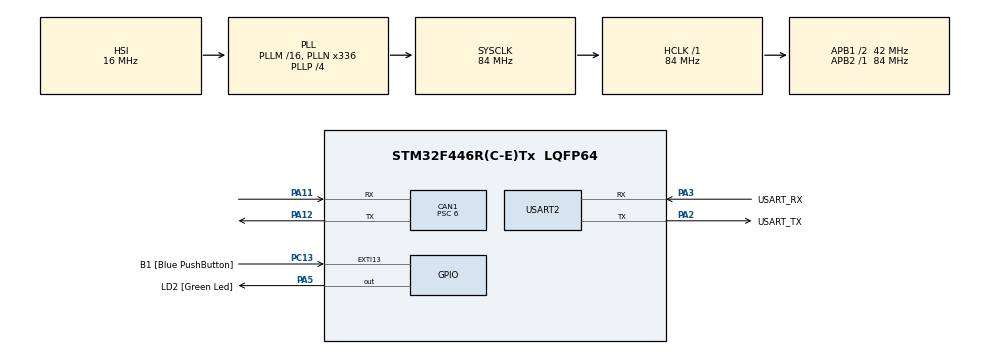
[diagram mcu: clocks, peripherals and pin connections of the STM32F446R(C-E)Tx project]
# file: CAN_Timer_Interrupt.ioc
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CAN1.ABOM=ENABLE
CAN1.BS1=CAN_BS1_11TQ
CAN1.BS2=CAN_BS2_2TQ
CAN1.CalculateBaudRate=500000
CAN1.CalculateTimeBit=2000
CAN1.CalculateTimeQuantum=142.85714285714286
CAN1.NART=ENABLE
CAN1.Prescaler=6
Mcu.Family=STM32F4
Mcu.Name=STM32F446R(C-E)Tx
Mcu.Package=LQFP64
NVIC.CAN1_TX_IRQn=true\:0\:0\:false\:false\:true\:true\:true\:true
NVIC.EXTI15_10_IRQn=true\:0\:0\:false\:false\:true\:true\:true\:true
NVIC.PriorityGroup=NVIC_PRIORITYGROUP_0
NVIC.TIM6_DAC_IRQn=true\:0\:0\:false\:false\:true\:true\:true\:true
PA11.Mode=CAN_Activate
PA11.Signal=CAN1_RX
PA12.Mode=CAN_Activate
PA12.Signal=CAN1_TX
PA13.GPIO_Label=TMS
PA13.Signal=SYS_JTMS-SWDIO
PA14.GPIO_Label=TCK
PA14.Signal=SYS_JTCK-SWCLK
PA2.GPIO_Label=USART_TX
PA2.Mode=Asynchronous
PA2.Signal=USART2_TX
PA3.GPIO_Label=USART_RX
PA3.Mode=Asynchronous
PA3.Signal=USART2_RX
PA5.GPIO_Label=LD2 [Green Led]
PA5.Signal=GPIO_Output
PB3.GPIO_Label=SWO
PB3.Signal=SYS_JTDO-SWO
PC13.GPIO_Label=B1 [Blue PushButton]
PC13.GPIO_ModeDefaultEXTI=GPIO_MODE_IT_FALLING
PC13.Signal=GPXTI13
PC14-OSC32_IN.Signal=RCC_OSC32_IN
PC15-OSC32_OUT.Signal=RCC_OSC32_OUT
PH0-OSC_IN.Mode=HSE-External-Oscillator
PH0-OSC_IN.Signal=RCC_OSC_IN
PH1-OSC_OUT.Mode=HSE-External-Oscillator
PH1-OSC_OUT.Signal=RCC_OSC_OUT
ProjectManager.HeapSize=0x200
ProjectManager.StackSize=0x400
ProjectManager.TargetToolchain=STM32CubeIDE
RCC.AHBFreq_Value=84000000
RCC.APB1CLKDivider=RCC_HCLK_DIV2
RCC.APB1Freq_Value=42000000
RCC.APB1TimFreq_Value=84000000
RCC.APB2Freq_Value=84000000
RCC.APB2TimCLKDivider=1
RCC.APB2TimFreq_Value=84000000
RCC.CortexFreq_Value=84000000
RCC.FLatency-AdvancedSettings=FLASH_LATENCY_2
RCC.HCLKFreq_Value=84000000
RCC.HSE_VALUE=8000000
RCC.HSI_VALUE=16000000
RCC.LSE_VALUE=32768
RCC.PLLN=336
RCC.PLLP=RCC_PLLP_DIV4
RCC.SYSCLKFreq_VALUE=84000000
RCC.SYSCLKSource=RCC_SYSCLKSOURCE_PLLCLK
RCC.USBFreq_Value=168000000
RCC.VCOOutputFreq_Value=336000000
TIM6.Period=9999
TIM6.Prescaler=8400
USART2.VirtualMode=VM_ASYNC
VP_TIM6_VS_ClockSourceINT.Mode=Enable_Timer
board=NUCLEO-F446RE

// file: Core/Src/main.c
/* USER CODE BEGIN Header */
/**
  ******************************************************************************
  * @file           : main.c
  * @brief          : Main program body
  ******************************************************************************
  * @attention
  *
  * Copyright (c) 2024 STMicroelectronics.
  * All rights reserved.
  *
  * This software is licensed under terms that can be found in the LICENSE file
  * in the root directory of this software component.
  * If no LICENSE file comes with this software, it is provided AS-IS.
  *
  ******************************************************************************
  */
/* USER CODE END Header */
#include "main.h"

CAN_HandleTypeDef hcan1;

TIM_HandleTypeDef htim6;

UART_HandleTypeDef huart2;

void SystemClock_Config(void);
static void MX_GPIO_Init(void);
static void MX_TIM6_Init(void);
static void MX_CAN1_Init(void);
static void MX_USART2_UART_Init(void);
/* USER CODE BEGIN PFP */
void HAL_CAN_TxMailbox0CompleteCallback(CAN_HandleTypeDef *hcan);
void HAL_CAN_TxMailbox1CompleteCallback(CAN_HandleTypeDef *hcan);
void HAL_CAN_TxMailbox2CompleteCallback(CAN_HandleTypeDef *hcan);
void HAL_CAN_RxFifo0MsgPendingCallback(CAN_HandleTypeDef *hcan);
void HAL_CAN_ErrorCallback(CAN_HandleTypeDef *hcan);

/* USER CODE END PFP */

int main(void)
{

  /* MCU Configuration--------------------------------------------------------*/

  /* Reset of all peripherals, Initializes the Flash interface and the Systick. */
  HAL_Init();

  /* Configure the system clock */
  SystemClock_Config();

  /* Initialize all configured peripherals */
  MX_GPIO_Init();
  MX_TIM6_Init();
  MX_CAN1_Init();
  MX_USART2_UART_Init();
  /* USER CODE BEGIN 2 */

  //HAL_TIM_Base_Start_IT(&htim6);

  if (HAL_CAN_ActivateNotification(&hcan1, CAN_IT_TX_MAILBOX_EMPTY) != HAL_OK) {
	  Error_Handler();
  }

  if (HAL_CAN_Start(&hcan1) != HAL_OK){
	  Error_Handler();
  }
  /* USER CODE END 2 */

  /* Infinite loop */
  while (1)
  {

  }
}

void SystemClock_Config(void)
{
  RCC_OscInitTypeDef RCC_OscInitStruct = {0};
  RCC_ClkInitTypeDef RCC_ClkInitStruct = {0};

  /** Configure the main internal regulator output voltage
  */
  __HAL_RCC_PWR_CLK_ENABLE();
  __HAL_PWR_VOLTAGESCALING_CONFIG(PWR_REGULATOR_VOLTAGE_SCALE3);

  /** Initializes the RCC Oscillators according to the specified parameters
  * in the RCC_OscInitTypeDef structure.
  */
  RCC_OscInitStruct.OscillatorType = RCC_OSCILLATORTYPE_HSI;
  RCC_OscInitStruct.HSIState = RCC_HSI_ON;
  RCC_OscInitStruct.HSICalibrationValue = RCC_HSICALIBRATION_DEFAULT;
  RCC_OscInitStruct.PLL.PLLState = RCC_PLL_ON;
  RCC_OscInitStruct.PLL.PLLSource = RCC_PLLSOURCE_HSI;
  RCC_OscInitStruct.PLL.PLLM = 16;
  RCC_OscInitStruct.PLL.PLLN = 336;
  RCC_OscInitStruct.PLL.PLLP = RCC_PLLP_DIV4;
  RCC_OscInitStruct.PLL.PLLQ = 2;
  RCC_OscInitStruct.PLL.PLLR = 2;
  if (HAL_RCC_OscConfig(&RCC_OscInitStruct) != HAL_OK)
  {
    Error_Handler();
  }

  /** Initializes the CPU, AHB and APB buses clocks
  */
  RCC_ClkInitStruct.ClockType = RCC_CLOCKTYPE_HCLK|RCC_CLOCKTYPE_SYSCLK
                              |RCC_CLOCKTYPE_PCLK1|RCC_CLOCKTYPE_PCLK2;
  RCC_ClkInitStruct.SYSCLKSource = RCC_SYSCLKSOURCE_PLLCLK;
  RCC_ClkInitStruct.AHBCLKDivider = RCC_SYSCLK_DIV1;
  RCC_ClkInitStruct.APB1CLKDivider = RCC_HCLK_DIV2;
  RCC_ClkInitStruct.APB2CLKDivider = RCC_HCLK_DIV1;

  if (HAL_RCC_ClockConfig(&RCC_ClkInitStruct, FLASH_LATENCY_2) != HAL_OK)
  {
    Error_Handler();
  }
}

static void MX_CAN1_Init(void)
{

  hcan1.Instance = CAN1;
  hcan1.Init.Prescaler = 6;
  hcan1.Init.Mode = CAN_MODE_NORMAL;
  hcan1.Init.SyncJumpWidth = CAN_SJW_1TQ;
  hcan1.Init.TimeSeg1 = CAN_BS1_11TQ;
  hcan1.Init.TimeSeg2 = CAN_BS2_2TQ;
  hcan1.Init.TimeTriggeredMode = DISABLE;
  hcan1.Init.AutoBusOff = ENABLE;
  hcan1.Init.AutoWakeUp = DISABLE;
  hcan1.Init.AutoRetransmission = ENABLE;
  hcan1.Init.ReceiveFifoLocked = DISABLE;
  hcan1.Init.TransmitFifoPriority = DISABLE;
  if (HAL_CAN_Init(&hcan1) != HAL_OK)
  {
    Error_Handler();
  }
  /* USER CODE BEGIN CAN1_Init 2 */
  CAN_FilterTypeDef CAN_Filter;

  CAN_Filter.FilterActivation = CAN_FILTER_ENABLE;
  CAN_Filter.FilterBank = 0;
  CAN_Filter.FilterFIFOAssignment = CAN_FILTER_FIFO0;
  CAN_Filter.FilterIdHigh = 0x00000000;
  CAN_Filter.FilterIdLow = 0x00000000;
  CAN_Filter.FilterMaskIdHigh = 0x00000000;
  CAN_Filter.FilterMaskIdLow = 0x00000000;
  CAN_Filter.FilterMode = CAN_FILTERMODE_IDMASK;
  CAN_Filter.FilterScale = CAN_FILTERSCALE_32BIT;

  if (HAL_CAN_ConfigFilter(&hcan1, &CAN_Filter) != HAL_OK) {
	  Error_Handler();
  }

  /* USER CODE END CAN1_Init 2 */

}

static void MX_TIM6_Init(void)
{

  TIM_MasterConfigTypeDef sMasterConfig = {0};

  htim6.Instance = TIM6;
  htim6.Init.Prescaler = 8400;
  htim6.Init.CounterMode = TIM_COUNTERMODE_UP;
  htim6.Init.Period = 9999;
  htim6.Init.AutoReloadPreload = TIM_AUTORELOAD_PRELOAD_DISABLE;
  if (HAL_TIM_Base_Init(&htim6) != HAL_OK)
  {
    Error_Handler();
  }
  sMasterConfig.MasterOutputTrigger = TIM_TRGO_RESET;
  sMasterConfig.MasterSlaveMode = TIM_MASTERSLAVEMODE_DISABLE;
  if (HAL_TIMEx_MasterConfigSynchronization(&htim6, &sMasterConfig) != HAL_OK)
  {
    Error_Handler();
  }

}

static void MX_USART2_UART_Init(void)
{

  huart2.Instance = USART2;
  huart2.Init.BaudRate = 115200;
  huart2.Init.WordLength = UART_WORDLENGTH_8B;
  huart2.Init.StopBits = UART_STOPBITS_1;
  huart2.Init.Parity = UART_PARITY_NONE;
  huart2.Init.Mode = UART_MODE_TX_RX;
  huart2.Init.HwFlowCtl = UART_HWCONTROL_NONE;
  huart2.Init.OverSampling = UART_OVERSAMPLING_16;
  if (HAL_UART_Init(&huart2) != HAL_OK)
  {
    Error_Handler();
  }

}

static void MX_GPIO_Init(void)
{
  GPIO_InitTypeDef GPIO_InitStruct = {0};

  /* GPIO Ports Clock Enable */
  __HAL_RCC_GPIOC_CLK_ENABLE();
  __HAL_RCC_GPIOH_CLK_ENABLE();
  __HAL_RCC_GPIOA_CLK_ENABLE();
  __HAL_RCC_GPIOB_CLK_ENABLE();

  /*Configure GPIO pin Output Level */
  HAL_GPIO_WritePin(LD2_GPIO_Port, LD2_Pin, GPIO_PIN_RESET);

  /*Configure GPIO pin : B1_Pin */
  GPIO_InitStruct.Pin = B1_Pin;
  GPIO_InitStruct.Mode = GPIO_MODE_IT_FALLING;
  GPIO_InitStruct.Pull = GPIO_NOPULL;
  HAL_GPIO_Init(B1_GPIO_Port, &GPIO_InitStruct);

  /*Configure GPIO pin : LD2_Pin */
  GPIO_InitStruct.Pin = LD2_Pin;
  GPIO_InitStruct.Mode = GPIO_MODE_OUTPUT_PP;
  GPIO_InitStruct.Pull = GPIO_NOPULL;
  GPIO_InitStruct.Speed = GPIO_SPEED_FREQ_LOW;
  HAL_GPIO_Init(LD2_GPIO_Port, &GPIO_InitStruct);

  /* EXTI interrupt init*/
  HAL_NVIC_SetPriority(EXTI15_10_IRQn, 0, 0);
  HAL_NVIC_EnableIRQ(EXTI15_10_IRQn);

}

/* USER CODE BEGIN 4 */

void CAN_Tx(void) {
	CAN_TxHeaderTypeDef TxHeader;
	uint32_t TxMailBox;

	uint8_t message[] = {'A','Y','O','U','B'};

	TxHeader.DLC = 5;
	TxHeader.IDE = CAN_ID_STD;
	TxHeader.StdId = 0x446;
	TxHeader.RTR = CAN_RTR_DATA;

	if (HAL_CAN_AddTxMessage(&hcan1, &TxHeader, message, &TxMailBox) != HAL_OK) {
		Error_Handler();
	}
}

void HAL_TIM_PeriodElapsedCallback(TIM_HandleTypeDef *htim) {
	if (htim->Instance == TIM6) {
		HAL_GPIO_TogglePin(LD2_GPIO_Port, LD2_Pin);
		CAN_Tx();
	}
}

void HAL_GPIO_EXTI_Callback(uint16_t GPIO_Pin) {

}

void HAL_CAN_TxMailbox0CompleteCallback(CAN_HandleTypeDef *hcan) {
	uint8_t msg0[] = "Message Transmitted:M0\r\n";
	HAL_UART_Transmit(&huart2, msg0, sizeof(msg0), HAL_MAX_DELAY);
}
void HAL_CAN_TxMailbox1CompleteCallback(CAN_HandleTypeDef *hcan) {
	uint8_t msg1[] = "Message Transmitted:M1\r\n";
	HAL_UART_Transmit(&huart2, msg1, sizeof(msg1), HAL_MAX_DELAY);
}
void HAL_CAN_TxMailbox2CompleteCallback(CAN_HandleTypeDef *hcan) {
	uint8_t msg2[] = "Message Transmitted:M0\r\n";
	HAL_UART_Transmit(&huart2, msg2, sizeof(msg2), HAL_MAX_DELAY);
}
void HAL_CAN_ErrorCallback(CAN_HandleTypeDef *hcan) {
	uint8_t uart_msg3[] = "Error occur while transmission!!\r\n";
	HAL_UART_Transmit(&huart2, uart_msg3, sizeof(uart_msg3), HAL_MAX_DELAY);
}
/* USER CODE END 4 */

void Error_Handler(void)
{
  /* USER CODE BEGIN Error_Handler_Debug */
  /* User can add his own implementation to report the HAL error return state */
  __disable_irq();
  while (1)
  {
		uint8_t uart_msg3[] = "Error Handler : Error occur while transmission!!\r\n";
		HAL_UART_Transmit(&huart2, uart_msg3, sizeof(uart_msg3), HAL_MAX_DELAY);
  }
  /* USER CODE END Error_Handler_Debug */
}
